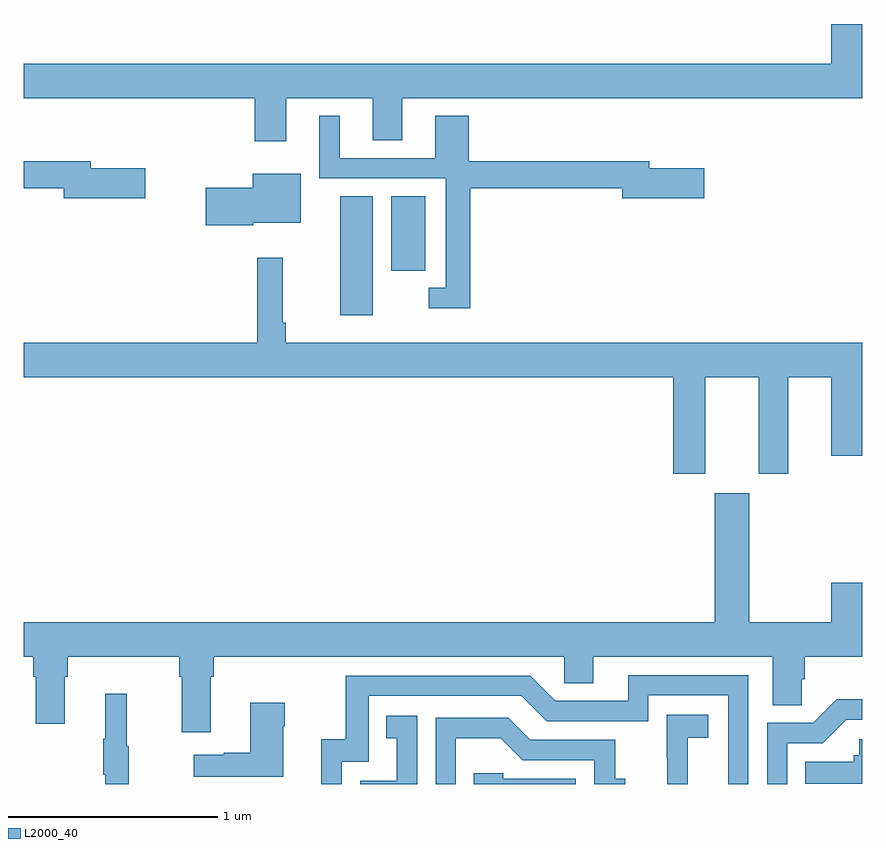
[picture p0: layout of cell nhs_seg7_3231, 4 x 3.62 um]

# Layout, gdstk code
import gdstk
lib = gdstk.Library(unit=1e-6, precision=1e-09)
def R(c, l, rs):  # rectangles x0, y0, x1, y1
    for r in rs: c.add(gdstk.rectangle(r[:2], r[2:], *l))
def P(c, l, *ps):  # polygons
    for p in ps: c.add(gdstk.Polygon(p, *l))
L2000_40 = (2000, 40)

nhs_seg7_3231 = lib.new_cell('nhs_seg7_3231')
R(nhs_seg7_3231, L2000_40, [(318.509,1010.235,318.664,1010.804), (318.752,1010.448,318.916,1010.804)])
P(nhs_seg7_3231, L2000_40, [(318.253,1011.272),(318.665,1011.272),(318.665,1011.07),(318.805,1011.07),(318.805,1011.272),(321,1011.272),(321,1011.625),(320.852,1011.625),(320.852,1011.436),(317,1011.436),(317,1011.272),(318.101,1011.272),(318.101,1011.066),(318.253,1011.066)],
  [(319.13,1010.842),(319.856,1010.842),(319.856,1010.795),(320.245,1010.795),(320.245,1010.937),(319.984,1010.937),(319.984,1010.971),(319.124,1010.971),(319.124,1011.187),(318.962,1011.187),(318.962,1010.985),(318.508,1010.985),(318.508,1011.187),(318.41,1011.187),(318.41,1010.889),(319.014,1010.889),(319.014,1010.367),(318.933,1010.367),(318.933,1010.27),(319.13,1010.27)],
  [(317.581,1010.937),(317.32,1010.937),(317.32,1010.971),(317,1010.971),(317,1010.842),(317.192,1010.842),(317.192,1010.795),(317.581,1010.795)],
  [(318.096,1010.678),(318.322,1010.678),(318.322,1010.911),(318.092,1010.911),(318.092,1010.844),(317.868,1010.844),(317.868,1010.666),(318.096,1010.666)],
  [(320.251,1009.94),(320.507,1009.94),(320.507,1009.479),(320.647,1009.479),(320.647,1009.94),(320.852,1009.94),(320.852,1009.566),(321,1009.566),(321,1010.104),(318.251,1010.104),(318.251,1010.2),(318.236,1010.2),(318.236,1010.509),(318.115,1010.509),(318.115,1010.104),(317,1010.104),(317,1009.94),(320.099,1009.94),(320.099,1009.479),(320.251,1009.479)],
  [(317.893,1008.512),(317.906,1008.512),(317.906,1008.608),(319.578,1008.608),(319.578,1008.481),(319.717,1008.481),(319.717,1008.608),(320.573,1008.608),(320.573,1008.376),(320.712,1008.376),(320.712,1008.499),(320.726,1008.499),(320.726,1008.608),(321,1008.608),(321,1008.961),(320.852,1008.961),(320.852,1008.772),(320.461,1008.772),(320.461,1009.387),(320.297,1009.387),(320.297,1008.772),(317,1008.772),(317,1008.608),(317.045,1008.608),(317.045,1008.512),(317.057,1008.512),(317.057,1008.288),(317.197,1008.288),(317.197,1008.512),(317.21,1008.512),(317.21,1008.608),(317.741,1008.608),(317.741,1008.512),(317.753,1008.512),(317.753,1008.246),(317.893,1008.246)],
  [(318.516,1008.105),(318.645,1008.105),(318.645,1008.42),(319.374,1008.42),(319.494,1008.3),(319.98,1008.3),(319.98,1008.423),(320.361,1008.423),(320.361,1008),(320.457,1008),(320.457,1008.519),(319.883,1008.519),(319.883,1008.396),(319.536,1008.396),(319.416,1008.516),(318.537,1008.516),(318.537,1008.214),(318.419,1008.214),(318.419,1008),(318.516,1008)],
  [(317.5,1008.18),(317.492,1008.18),(317.492,1008.43),(317.39,1008.43),(317.39,1008.217),(317.379,1008.217),(317.379,1008.043),(317.39,1008.043),(317.39,1008),(317.5,1008)],
  [(320.643,1008.195),(320.812,1008.195),(320.923,1008.306),(321,1008.306),(321,1008.404),(320.879,1008.404),(320.766,1008.291),(320.547,1008.291),(320.547,1008),(320.643,1008)],
  [(318.238,1008.275),(318.246,1008.275),(318.246,1008.388),(318.08,1008.388),(318.08,1008.149),(317.954,1008.149),(317.954,1008.139),(317.811,1008.139),(317.811,1008.035),(318.238,1008.035)],
  [(320.168,1008.221),(320.266,1008.221),(320.266,1008.331),(320.068,1008.331),(320.068,1008.125),(320.069,1008.125),(320.069,1008),(320.168,1008)],
  [(318.876,1008.325),(318.73,1008.325),(318.73,1008.219),(318.779,1008.219),(318.779,1008.015),(318.606,1008.015),(318.606,1008),(318.876,1008)],
  [(319.062,1008.218),(319.276,1008.218),(319.38,1008.114),(319.722,1008.114),(319.722,1008),(319.87,1008),(319.87,1008.025),(319.821,1008.025),(319.821,1008.21),(319.417,1008.21),(319.312,1008.315),(318.966,1008.315),(318.966,1008),(319.062,1008)],
  [(321,1008.214),(320.985,1008.214),(320.985,1008.138),(320.959,1008.138),(320.959,1008.106),(320.728,1008.106),(320.728,1008.002),(321,1008.002)],
  [(319.632,1008.024),(319.287,1008.024),(319.287,1008.051),(319.147,1008.051),(319.147,1008),(319.632,1008)])

lib.write_gds('nhs_seg7_3231.gds')
